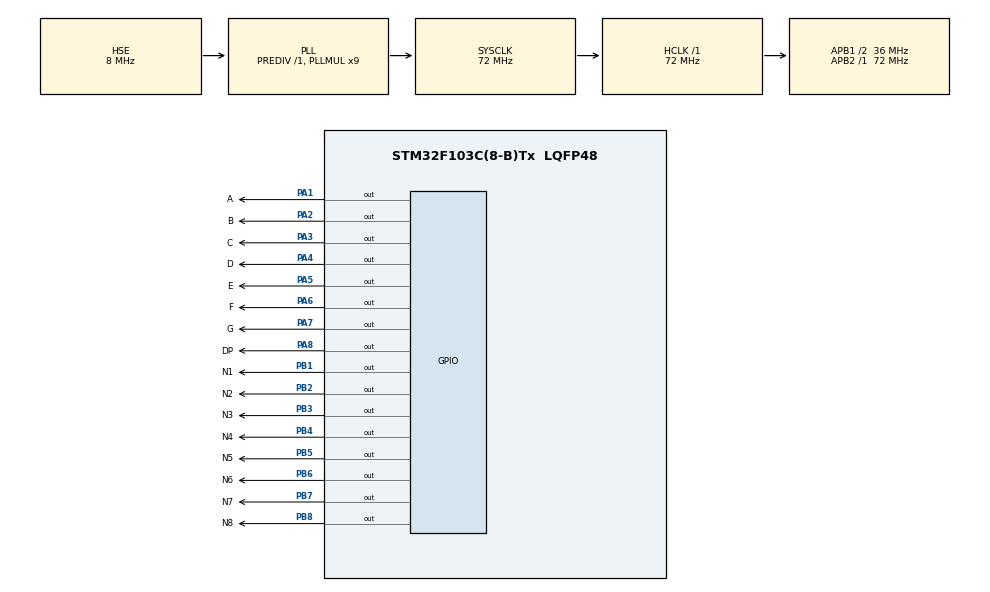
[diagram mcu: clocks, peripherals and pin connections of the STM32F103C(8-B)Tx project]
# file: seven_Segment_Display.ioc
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Mcu.Family=STM32F1
Mcu.Name=STM32F103C(8-B)Tx
Mcu.Package=LQFP48
NVIC.PriorityGroup=NVIC_PRIORITYGROUP_4
PA1.GPIO_Label=A
PA1.Signal=GPIO_Output
PA2.GPIO_Label=B
PA2.Signal=GPIO_Output
PA3.GPIO_Label=C
PA3.Signal=GPIO_Output
PA4.GPIO_Label=D
PA4.Signal=GPIO_Output
PA5.GPIO_Label=E
PA5.Signal=GPIO_Output
PA6.GPIO_Label=F
PA6.Signal=GPIO_Output
PA7.GPIO_Label=G
PA7.Signal=GPIO_Output
PA8.GPIO_Label=DP
PA8.Signal=GPIO_Output
PB1.GPIO_Label=N1
PB1.Signal=GPIO_Output
PB2.GPIO_Label=N2
PB2.Signal=GPIO_Output
PB3.GPIO_Label=N3
PB3.Signal=GPIO_Output
PB4.GPIO_Label=N4
PB4.Signal=GPIO_Output
PB5.GPIO_Label=N5
PB5.Signal=GPIO_Output
PB6.GPIO_Label=N6
PB6.Signal=GPIO_Output
PB7.GPIO_Label=N7
PB7.Signal=GPIO_Output
PB8.GPIO_Label=N8
PB8.Signal=GPIO_Output
PC14-OSC32_IN.Mode=LSE-External-Oscillator
PC14-OSC32_IN.Signal=RCC_OSC32_IN
PC15-OSC32_OUT.Mode=LSE-External-Oscillator
PC15-OSC32_OUT.Signal=RCC_OSC32_OUT
PD0-OSC_IN.Mode=HSE-External-Oscillator
PD0-OSC_IN.Signal=RCC_OSC_IN
PD1-OSC_OUT.Mode=HSE-External-Oscillator
PD1-OSC_OUT.Signal=RCC_OSC_OUT
ProjectManager.HeapSize=0x200
ProjectManager.StackSize=0x400
ProjectManager.TargetToolchain=MDK-ARM V5.32
RCC.AHBFreq_Value=72000000
RCC.APB1CLKDivider=RCC_HCLK_DIV2
RCC.APB1Freq_Value=36000000
RCC.APB1TimFreq_Value=72000000
RCC.APB2Freq_Value=72000000
RCC.APB2TimFreq_Value=72000000
RCC.HCLKFreq_Value=72000000
RCC.PLLMUL=RCC_PLL_MUL9
RCC.PLLSourceVirtual=RCC_PLLSOURCE_HSE
RCC.SYSCLKFreq_VALUE=72000000
RCC.SYSCLKSource=RCC_SYSCLKSOURCE_PLLCLK
RCC.USBFreq_Value=72000000
VP_SYS_VS_ND.Mode=No_Debug
board=custom

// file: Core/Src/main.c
/* USER CODE BEGIN Header */
/**
  ******************************************************************************
  * @file           : main.c
  * @brief          : Main program body
  ******************************************************************************
  * @attention
  *
  * Copyright (c) 2025 STMicroelectronics.
  * All rights reserved.
  *
  * This software is licensed under terms that can be found in the LICENSE file
  * in the root directory of this software component.
  * If no LICENSE file comes with this software, it is provided AS-IS.
  *
  ******************************************************************************
  */
/* USER CODE END Header */
#include "main.h"
#include "gpio.h"
#include "../Inc/main.h"
#include "myUtils.h"

void SystemClock_Config(void);

int main(void)
{

  /* MCU Configuration--------------------------------------------------------*/

  /* Reset of all peripherals, Initializes the Flash interface and the Systick. */
  HAL_Init();

  /* Configure the system clock */
  SystemClock_Config();

  /* Initialize all configured peripherals */
  MX_GPIO_Init();
  /* USER CODE BEGIN 2 */
  uint16_t number[8] = { 0x00A4, 0x00C0, 0x00A4, 0x0092, 0x00F9, 0x00F9, 0x00A4, 0x00F8 };
  HAL_GPIO_WritePin(GPIOB, 0xFFFF, GPIO_PIN_RESET);
  HAL_GPIO_WritePin(GPIOA, 0XFFFF, GPIO_PIN_SET);
  uint32_t last_switch_time = 0;
  /* USER CODE END 2 */

  /* Infinite loop */
  /* USER CODE BEGIN WHILE */
  while (1)
  {
    HAL_GPIO_WritePin(A_GPIO_Port, A_Pin, GPIO_PIN_RESET);
    for (int i = 0; i < 8; i++)
    {
      uint16_t numberSlect = 1 << (i+1);

      GPIOB -> ODR = numberSlect;
      GPIOA -> ODR = (number[i] << 1);
      HAL_GPIO_WritePin(GPIOB, 0xFFFF, GPIO_PIN_RESET);
      HAL_Delay(1);
    }
    if (HAL_GetTick() - last_switch_time > 800)
    {
      last_switch_time = HAL_GetTick();
      uint16_t number0 = number[0];
      for(int i = 0 ; i < 7 ; i++){
        number[i] = number[i+1];
      }
      number[7] = number0;
      HAL_Delay(1);
    }

    /* USER CODE END WHILE */

  }
}

void SystemClock_Config(void)
{
  RCC_OscInitTypeDef RCC_OscInitStruct = {0};
  RCC_ClkInitTypeDef RCC_ClkInitStruct = {0};

  /** Initializes the RCC Oscillators according to the specified parameters
  * in the RCC_OscInitTypeDef structure.
  */
  RCC_OscInitStruct.OscillatorType = RCC_OSCILLATORTYPE_HSE;
  RCC_OscInitStruct.HSEState = RCC_HSE_ON;
  RCC_OscInitStruct.HSEPredivValue = RCC_HSE_PREDIV_DIV1;
  RCC_OscInitStruct.HSIState = RCC_HSI_ON;
  RCC_OscInitStruct.PLL.PLLState = RCC_PLL_ON;
  RCC_OscInitStruct.PLL.PLLSource = RCC_PLLSOURCE_HSE;
  RCC_OscInitStruct.PLL.PLLMUL = RCC_PLL_MUL9;
  if (HAL_RCC_OscConfig(&RCC_OscInitStruct) != HAL_OK)
  {
    Error_Handler();
  }

  /** Initializes the CPU, AHB and APB buses clocks
  */
  RCC_ClkInitStruct.ClockType = RCC_CLOCKTYPE_HCLK|RCC_CLOCKTYPE_SYSCLK
                              |RCC_CLOCKTYPE_PCLK1|RCC_CLOCKTYPE_PCLK2;
  RCC_ClkInitStruct.SYSCLKSource = RCC_SYSCLKSOURCE_PLLCLK;
  RCC_ClkInitStruct.AHBCLKDivider = RCC_SYSCLK_DIV1;
  RCC_ClkInitStruct.APB1CLKDivider = RCC_HCLK_DIV2;
  RCC_ClkInitStruct.APB2CLKDivider = RCC_HCLK_DIV1;

  if (HAL_RCC_ClockConfig(&RCC_ClkInitStruct, FLASH_LATENCY_2) != HAL_OK)
  {
    Error_Handler();
  }
}

void Error_Handler(void)
{
  __disable_irq();
  while (1)
  {
  }
}
